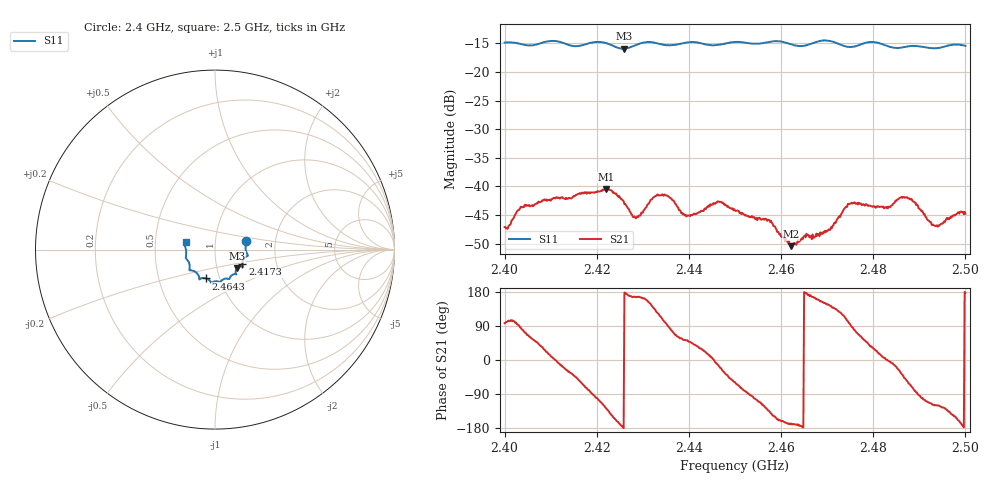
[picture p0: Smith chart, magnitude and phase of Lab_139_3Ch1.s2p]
# Hz S RI R 50
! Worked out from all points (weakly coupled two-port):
!   601 points, 2.4 GHz to 2.5 GHz, reference 50 ohm
!   highest |S21| = -40.44 dB at 2.422 GHz (marker M1); lowest = -50.4 dB at 2.4622 GHz (marker M2)
!   lowest |S11| = -15.9 dB at 2.4258 GHz (marker M3), VSWR 1.38, Z = 62.2 - j13.3 ohm
!   |S11| at or under -10 dB: start of sweep to end of sweep
!   S12 and S22 are empty: the file has one direction only
!   S11 on the Smith chart (normalised r, x): 2.4 GHz: 1.41, +0.15; 2.4173 GHz: 1.34, -0.23; 2.4643 GHz: 0.86, -0.28; 2.5 GHz: 0.72, +0.06
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2.4e9  0.1734 0.05  -0.000538 0.00439  0 0  0 0
2.404e9  0.1718 0.0253  0.00132 0.0065  0 0  0 0
2.416667e9  0.1531 -0.0743  0.00425 -0.00756  0 0  0 0
2.417333e9  0.1526 -0.0817  0.00329 -0.00826  0 0  0 0
2.422e9  0.1517 -0.0946  -0.00571 -0.0076  0 0  0 0
2.425833e9  0.1213 -0.1038  -0.00741 -1.69e-05  0 0  0 0
2.4285e9  0.1153 -0.1279  -0.00509 0.0013  0 0  0 0
2.433333e9  0.1125 -0.1365  -0.00455 0.00711  0 0  0 0
2.435667e9  0.0967 -0.1409  0.00047 0.00809  0 0  0 0
2.4395e9  0.0807 -0.1618  0.00339 0.00429  0 0  0 0
2.4465e9  0.0434 -0.167  0.00708 -0.00201  0 0  0 0
2.45e9  0.0295 -0.1806  0.00319 -0.00525  0 0  0 0
2.457667e9  -0.017 -0.1829  -0.00369 -0.00319  0 0  0 0
2.462167e9  -0.0306 -0.1715  -0.00294 -0.000651  0 0  0 0
2.464333e9  -0.0503 -0.1606  -0.00343 -0.000371  0 0  0 0
2.466667e9  -0.0764 -0.1598  -0.00336 0.000794  0 0  0 0
2.4705e9  -0.0872 -0.1652  -0.00338 0.00246  0 0  0 0
2.475e9  -0.1066 -0.1261  -0.000478 0.00704  0 0  0 0
2.483333e9  -0.1409 -0.0896  0.00665 -0.000327  0 0  0 0
2.487833e9  -0.1598 -0.0516  0.00353 -0.00704  0 0  0 0
2.493667e9  -0.1611 -0.00564  -0.00219 -0.00394  0 0  0 0
2.5e9  -0.1636 0.0418  -0.00577 0.000304  0 0  0 0
